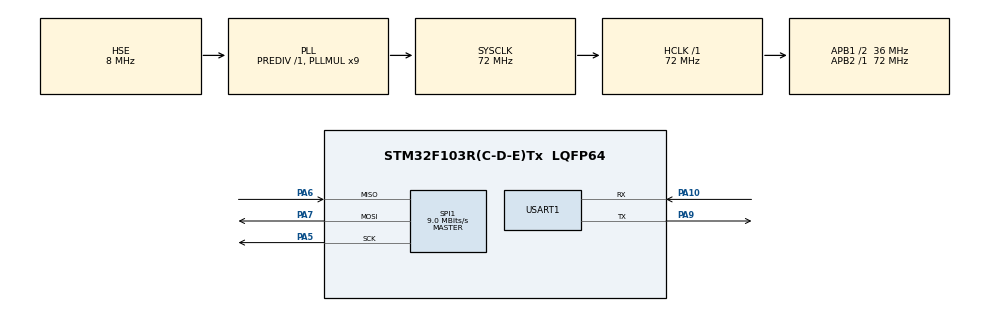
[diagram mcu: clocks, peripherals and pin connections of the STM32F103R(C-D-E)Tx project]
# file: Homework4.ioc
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Mcu.Family=STM32F1
Mcu.Name=STM32F103R(C-D-E)Tx
Mcu.Package=LQFP64
NVIC.PriorityGroup=NVIC_PRIORITYGROUP_4
NVIC.RTC_IRQn=true\:0\:0\:false\:false\:true\:true\:true\:true
NVIC.TIM3_IRQn=true\:1\:0\:true\:false\:true\:true\:true\:true
NVIC.USART1_IRQn=true\:1\:0\:true\:false\:true\:true\:true\:true
PA10.Mode=Asynchronous
PA10.Signal=USART1_RX
PA13.Mode=Serial_Wire
PA13.Signal=SYS_JTMS-SWDIO
PA14.Mode=Serial_Wire
PA14.Signal=SYS_JTCK-SWCLK
PA5.Mode=Full_Duplex_Master
PA5.Signal=SPI1_SCK
PA6.Mode=Full_Duplex_Master
PA6.Signal=SPI1_MISO
PA7.Mode=Full_Duplex_Master
PA7.Signal=SPI1_MOSI
PA9.Mode=Asynchronous
PA9.Signal=USART1_TX
PC14-OSC32_IN.Mode=LSE-External-Oscillator
PC14-OSC32_IN.Signal=RCC_OSC32_IN
PC15-OSC32_OUT.Mode=LSE-External-Oscillator
PC15-OSC32_OUT.Signal=RCC_OSC32_OUT
PD0-OSC_IN.Mode=HSE-External-Oscillator
PD0-OSC_IN.Signal=RCC_OSC_IN
PD1-OSC_OUT.Mode=HSE-External-Oscillator
PD1-OSC_OUT.Signal=RCC_OSC_OUT
ProjectManager.HeapSize=0x200
ProjectManager.StackSize=0x400
ProjectManager.TargetToolchain=STM32CubeIDE
RCC.AHBFreq_Value=72000000
RCC.APB1CLKDivider=RCC_HCLK_DIV2
RCC.APB1Freq_Value=36000000
RCC.APB1TimFreq_Value=72000000
RCC.APB2Freq_Value=72000000
RCC.APB2TimFreq_Value=72000000
RCC.HCLKFreq_Value=72000000
RCC.PLLMUL=RCC_PLL_MUL9
RCC.PLLSourceVirtual=RCC_PLLSOURCE_HSE
RCC.RTCClockSelection=RCC_RTCCLKSOURCE_LSE
RCC.SYSCLKFreq_VALUE=72000000
RCC.SYSCLKSource=RCC_SYSCLKSOURCE_PLLCLK
RCC.USBFreq_Value=72000000
RTC.Date=26
RTC.Minutes=37
RTC.Month=RTC_MONTH_DECEMBER
RTC.Seconds=30
RTC.WeekDay=RTC_WEEKDAY_TUESDAY
RTC.Year=23
SPI1.BaudRatePrescaler=SPI_BAUDRATEPRESCALER_8
SPI1.CalculateBaudRate=9.0 MBits/s
SPI1.Direction=SPI_DIRECTION_2LINES
SPI1.Mode=SPI_MODE_MASTER
SPI1.VirtualType=VM_MASTER
TIM3.Period=9999
TIM3.Prescaler=7199
USART1.VirtualMode=VM_ASYNC
VP_RTC_No_RTC_Output.Mode=RTC_OUT_NO
VP_RTC_VS_RTC_Activate.Mode=RTC_Enabled
VP_RTC_VS_RTC_Calendar.Mode=RTC_Calendar
VP_TIM3_VS_ClockSourceINT.Mode=Internal
board=custom

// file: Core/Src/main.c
/* USER CODE BEGIN Header */
/**
  ******************************************************************************
  * @file           : main.c
  * @brief          : Main program body
  ******************************************************************************
  * @attention
  *
  * Copyright (c) 2022 STMicroelectronics.
  * All rights reserved.
  *
  * This software is licensed under terms that can be found in the LICENSE file
  * in the root directory of this software component.
  * If no LICENSE file comes with this software, it is provided AS-IS.
  *
  ******************************************************************************
  */
/* USER CODE END Header */
#include "main.h"

/* USER CODE BEGIN Includes */

/* Private includes ----------------------------------------------------------*/
/* USER CODE BEGIN Includes */
#include "sys.h"
#include "delay.h"
//#include "usart.h"
#include "led.h"
#include "key.h"
#include "lcd.h"
//#include "usmart.h"
#include "touch.h"
#include "24cxx.h"
#include "24l01.h" //通信驱动 基于spi进行通信
//#include "remote.h" 红外遥控驱动
/* USER CODE END Includes */

/* USER CODE BEGIN PTD */

#include <stdio.h>
#include <stdlib.h>
#include <time.h>
#include <string.h>
#include <math.h>

//const unsigned char gImage_loag[115208]

int N = 0;
int S = 0;
int count = 0;
int count1 = 0;
int count2 = 0;
char msg[100];
char msg2[100];

RTC_DateTypeDef GetData;  //获取日期结构�?

RTC_TimeTypeDef GetTime;   //获取时间结构�?

extern UART_HandleTypeDef huart1;
extern uint8_t rxBuffer[20];

#define NUM_OF_CHARS 5 // 生成的字符数�?????
#define NUM_TO_PICK 3 // 选取的字符数�?????

/* USER CODE END PTD */

/* USER CODE BEGIN PD */
unsigned char DATA_TO_SEND[800];
int state_num = 0;
u8 STATE[30];

extern TIM_HandleTypeDef htim3;
RTC_HandleTypeDef hrtc;

typedef struct {
    int x;
    int y;
} Point;

Point points[6];
// 初始化数�?????
int numbers[] = {1, 2, 3, 4, 5, 6};
int Numbers[] = {0, 1, 2, 3, 4, 5};

//设定时间
void Time1(){

	            HAL_RTC_GetTime(&hrtc, &GetTime, RTC_FORMAT_BIN);
		        /* Get the RTC current Date */
		        HAL_RTC_GetDate(&hrtc, &GetData, RTC_FORMAT_BIN);

		        /* Display date Format : yy/mm/dd */
		        sprintf(msg2,"%02d/%02d/%02d\r\n",2000 + GetData.Year, GetData.Month, GetData.Date);
		        LCD_ShowString(70,110,200,16,16,msg2);

		        /* Display time Format : hh:mm:ss */
		  		/* Display date Format : weekday */
		  		if(GetData.WeekDay==1){
	//	  			printf("星期�??\r\n");
		  			LCD_ShowString(80,150,200,16,16,"Monday");
		  		}else if(GetData.WeekDay==2){
		  			LCD_ShowString(80,150,200,16,16,"Tuesday");
		  		}else if(GetData.WeekDay==3){
		  			LCD_ShowString(80,150,200,16,16,"Wednesday");
		  		}else if(GetData.WeekDay==4){
		  			LCD_ShowString(80,150,200,16,16,"Thursday");
		  		}else if(GetData.WeekDay==5){
		  			LCD_ShowString(80,150,200,16,16,"Friday");
		  		}else if(GetData.WeekDay==6){
		  			LCD_ShowString(80,150,200,16,16,"Saturday");
		  		}else if(GetData.WeekDay==7){
		  			LCD_ShowString(80,150,200,16,16,"Sunday");
		  		}

		       // printf("%02d:%02d:%02d\r\n",GetTime.Hours, GetTime.Minutes, GetTime.Seconds);
		  		 sprintf(msg,"%02d:%02d:%02d\r\n",GetTime.Hours, GetTime.Minutes, GetTime.Seconds);
		  		//HAL_UART_Transmit(&huart1, (uint8_t*)msg, strlen(msg), HAL_MAX_DELAY);
		  		LCD_ShowString(80,130,200,16,16,msg);

}

//初始化
void initialization(){
	LCD_ShowString(70,90,200,16,16,"Welcome, sir.");
	LCD_Fill(100,50,130,80,RED);
	LCD_Fill(100,190,130,220,BLUE);
	LCD_Fill(30,120,60,150,GREEN);
	LCD_ShowString(105,55,200,16,16,"chat");
	LCD_ShowString(100,195,200,16,16,"calculator");
	LCD_ShowString(20,125,200,16,16,"album");

	Time1();

	//LCD_Fill(30,50,250,60,RED);

}

void Load_Drow_Dialog(void)
{
	LCD_Clear(WHITE);//清屏
 	POINT_COLOR=BLUE;//设置字体为蓝�???????
	LCD_ShowString(lcddev.width-24,0,200,16,16,"RST");//显示清屏区域
  	POINT_COLOR=RED;//设置画笔蓝色
}
UART_HandleTypeDef huart1;
/* USER CODE END PD */

/* USER CODE BEGIN PM */
//清空屏幕并在右上角显�???????"RST"
////////////////////////////////////////////////////////////////////////////////
//电容触摸屏专有部�???????
//画水平线
//x0,y0:坐标
//len:线长�???????
//color:颜色
void gui_draw_hline(u16 x0,u16 y0,u16 len,u16 color)
{
	if(len==0)return;
	LCD_Fill(x0,y0,x0+len-1,y0,color);
}
//画实心圆
//x0,y0:坐标
//r:半径
//color:颜色
void gui_fill_circle(u16 x0,u16 y0,u16 r,u16 color)
{
	u32 i;
	u32 imax = ((u32)r*707)/1000+1;
	u32 sqmax = (u32)r*(u32)r+(u32)r/2;
	u32 x=r;
	gui_draw_hline(x0-r,y0,2*r,color);
	for (i=1;i<=imax;i++)
	{
		if ((i*i+x*x)>sqmax)// draw lines from outside
		{
 			if (x>imax)
			{
				gui_draw_hline (x0-i+1,y0+x,2*(i-1),color);
				gui_draw_hline (x0-i+1,y0-x,2*(i-1),color);
			}
			x--;
		}
		// draw lines from inside (center)
		gui_draw_hline(x0-x,y0+i,2*x,color);
		gui_draw_hline(x0-x,y0-i,2*x,color);
	}
}
//两个数之差的绝对�???????
//x1,x2：需取差值的两个�???????
//返回值：|x1-x2|
u16 my_abs(u16 x1,u16 x2)
{
	if(x1>x2)return x1-x2;
	else return x2-x1;
}
//画一条粗�???????
//(x1,y1),(x2,y2):线条的起始坐�???????
//size：线条的粗细程度
//color：线条的颜色

void screen_print(){
	LCD_Clear(WHITE);//清屏
	POINT_COLOR=BLUE;//设置字体为蓝�??????
	LCD_ShowString(lcddev.width-24,0,200,16,16,"RST");//显示清屏区域
	LCD_ShowString(0,0,200,24,24, "SHOW PICTURE");
	LCD_ShowString(60,60,200,24,24, "SEND MESSAGE");
	LCD_ShowString(0, lcddev.height-24, 200, 16, 16, STATE);
	POINT_COLOR=RED;//设置画笔为红�??????

}

void screen_norm_print(){
//	LCD_Clear(WHITE);//清屏
	POINT_COLOR=BLUE;//设置字体为蓝�??????
	LCD_ShowString(lcddev.width-24,0,200,16,16,"RST");//显示清屏区域
	LCD_ShowString(0,0,200,24,24, "SHOW PICTURE");
	LCD_ShowString(60,60,200,24,24, "SEND MESSAGE");
	LCD_ShowString(0, lcddev.height-24, 200, 16, 16, STATE);
	POINT_COLOR=RED;//设置画笔为红�??????

}

void change_state(){
	if(state_num == 0){
		state_num = 1;
		sprintf(STATE, "STATE: ON");
	}else{
		state_num = 0;
		sprintf(STATE, "STATE: OFF");
	}
}

void lcd_draw_bline(u16 x1, u16 y1, u16 x2, u16 y2,u8 size,u16 color)
{
	u16 t;
	int xerr=0,yerr=0,delta_x,delta_y,distance;
	int incx,incy,uRow,uCol;
	if(x1<size|| x2<size||y1<size|| y2<size)return;
	delta_x=x2-x1; //计算坐标增量
	delta_y=y2-y1;
	uRow=x1;
	uCol=y1;
	if(delta_x>0)incx=1; //设置单步方向
	else if(delta_x==0)incx=0;//垂直�???????
	else {incx=-1;delta_x=-delta_x;}
	if(delta_y>0)incy=1;
	else if(delta_y==0)incy=0;//水平�???????
	else{incy=-1;delta_y=-delta_y;}
	if( delta_x>delta_y)distance=delta_x; //选取基本增量坐标�???????
	else distance=delta_y;
	for(t=0;t<=distance+1;t++ )//画线输出
	{
		//gui_fill_circle(uRow,uCol,size,color);//画点
		xerr+=delta_x ;
		yerr+=delta_y ;
		if(xerr>distance)
		{
			xerr-=distance;
			uRow+=incx;
		}
		if(yerr>distance)
		{
			yerr-=distance;
			uCol+=incy;
		}
	}
}
////////////////////////////////////////////////////////////////////////////////
//5个触控点的颜�???????(电容触摸屏用)
const u16 POINT_COLOR_TBL[5]={RED,GREEN,BLUE,BROWN,GRED};
//电阻触摸屏测试函�???????
void rtp_test(void)
{
	u8 key;
	u8 i=0;
	while(1)
	{

	 	key=KEY_Scan(0);
		tp_dev.scan(0);
		Time1();
		//screen_norm_print();

		if(tp_dev.sta&TP_PRES_DOWN)			//触摸屏被按下
		{
		 	if(tp_dev.x[0]<lcddev.width&&tp_dev.y[0]<lcddev.height)
			{
		 		TP_Draw_Big_Point(tp_dev.x[0],tp_dev.y[0],RED);
//				if(tp_dev.x[0]>(lcddev.width-24)&&tp_dev.y[0]<16){
//					screen_print();//清除
//				}
//				else if(tp_dev.x[0]<80&&tp_dev.y[0]<24){
//					//LCD_ShowPicture(0,0,240,240,(uint16_t*) gImage_loag);
//				}
//				else if(tp_dev.x[0]>60&&tp_dev.y[0]>60&&tp_dev.x[0]<180&&tp_dev.y[0]<100){
//					sprintf(DATA_TO_SEND, "SEND DATA");
//					HAL_UART_Transmit(&huart1, (uint8_t*)DATA_TO_SEND, strlen(DATA_TO_SEND), HAL_MAX_DELAY);
//				}
//				else if(tp_dev.x[0]>0&&tp_dev.y[0]>lcddev.height-24&&tp_dev.x[0]<80&&tp_dev.y[0]<lcddev.height){
//					change_state();
//				}
//				else {
					//TP_Draw_Big_Point(tp_dev.x[0],tp_dev.y[0],RED);//画红�??????

//					if(N==1&&tp_dev.x[0]>points[Numbers[0]].x&&tp_dev.x[0]<points[Numbers[0]].x+40&&tp_dev.y[0]>points[Numbers[0]].y&&tp_dev.y[0]<points[Numbers[0]].y+40){
//					   LCD_ShowPicture(points[Numbers[0]].x,points[Numbers[0]].y,40,40,(uint16_t*) gImage_right1);
//					   //TP_Draw_Big_Point(tp_dev.x[0],tp_dev.y[0],RED);
//					}else if(N==1&&((tp_dev.x[0]>points[Numbers[1]].x&&tp_dev.x[0]<points[Numbers[1]].x+40&&tp_dev.y[0]>points[Numbers[1]].y)&&tp_dev.y[0]<points[Numbers[1]].y+40||(tp_dev.x[0]>points[Numbers[2]].x&&tp_dev.x[0]<points[Numbers[2]].x+40&&tp_dev.y[0]>points[Numbers[2]].y&&tp_dev.y[0]<points[Numbers[2]].y+40)||(tp_dev.x[0]>points[Numbers[3]].x&&tp_dev.x[0]<points[Numbers[3]].x+40&&tp_dev.y[0]>points[Numbers[3]].y&&tp_dev.y[0]<points[Numbers[3]].y+40)||(tp_dev.x[0]>points[Numbers[4]].x&&tp_dev.x[0]<points[Numbers[4]].x+40&&tp_dev.y[0]>points[Numbers[4]].y&&tp_dev.y[0]<points[Numbers[4]].y+40))){
//					   LCD_ShowPicture(tp_dev.x[0]-20,tp_dev.y[0]-19,40,38,(uint16_t*) gImage_error);
//					}

			}
		}else delay_ms(10);	//没有按键按下的时�???????
		if(key==KEY0_PRES)	//KEY0按下,则执行校准程�???????
		{
//			LCD_Clear(WHITE);	//清屏
//		    TP_Adjust();  		//屏幕校准
//			TP_Save_Adjdata();
//			Load_Drow_Dialog();
			//LCD_ShowPicture(0,0,240,240,(uint16_t*) gImage_loag);

			N = 1;
			count = 0;
			count1 = 0;
			count2 = 0;
		}
//		i++;
//		if(i%20==0)LED0=!LED0;
	}
}
//电容触摸屏测试函�???????
void ctp_test(void)
{
	u8 t=0;
	u8 i=0;
 	u16 lastpos[5][2];		//�???????后一次的数据
	while(1)
	{
		tp_dev.scan(0);
		for(t=0;t<5;t++)
		{
			if((tp_dev.sta)&(1<<t))
			{
                //printf("X坐标:%d,Y坐标:%d\r\n",tp_dev.x[0],tp_dev.y[0]);
				if(tp_dev.x[t]<lcddev.width&&tp_dev.y[t]<lcddev.height)
				{
					if(lastpos[t][0]==0XFFFF)
					{
						lastpos[t][0] = tp_dev.x[t];
						lastpos[t][1] = tp_dev.y[t];
					}

					//lcd_draw_bline(lastpos[t][0],lastpos[t][1],tp_dev.x[t],tp_dev.y[t],2,POINT_COLOR_TBL[t]);//画线
					lastpos[t][0]=tp_dev.x[t];
					lastpos[t][1]=tp_dev.y[t];
					if(tp_dev.x[t]>(lcddev.width-24)&&tp_dev.y[t]<20)
					{
						Load_Drow_Dialog();//清除
					}
				}
			}else lastpos[t][0]=0XFFFF;
		}

		delay_ms(5);i++;
		//if(i%20==0)LED0=!LED0;
	}
}

/* USER CODE END PM */

RTC_HandleTypeDef hrtc;

SPI_HandleTypeDef hspi1;

TIM_HandleTypeDef htim3;

UART_HandleTypeDef huart1;

void SystemClock_Config(void);
static void MX_GPIO_Init(void);
static void MX_SPI1_Init(void);
static void MX_USART1_UART_Init(void);
static void MX_TIM3_Init(void);
static void MX_RTC_Init(void);

int main(void)
{

  /* MCU Configuration--------------------------------------------------------*/

  /* Reset of all peripherals, Initializes the Flash interface and the Systick. */
  HAL_Init();

  /* USER CODE BEGIN Init */
  Stm32_Clock_Init(RCC_PLL_MUL9);   	//设置时钟,72M
	delay_init(72);               		//初始化延时函�???????
//	uart_init(115200);					//初始化串�???????
//	usmart_dev.init(84); 		  	  	//初始化USMART
	LED_Init();							//初始化LED
	KEY_Init();							//初始化按�???????
	LCD_Init();							//初始化LCD
	tp_dev.init();				   		//触摸屏初始化
  /* USER CODE END Init */

  /* Configure the system clock */
  SystemClock_Config();

  /* Initialize all configured peripherals */
  MX_GPIO_Init();
  MX_SPI1_Init();
  MX_USART1_UART_Init();
  MX_TIM3_Init();
  MX_RTC_Init();
  /* USER CODE BEGIN 2 */

  HAL_TIM_Base_Start_IT(&htim3);
  HAL_UART_Receive_IT(&huart1,(uint8_t*)rxBuffer,1);

  initialization();

  	if(tp_dev.touchtype&0X80)ctp_test();//电容�??????
  	else rtp_test(); 					//电阻�??????

  /* USER CODE END 2 */

  /* Infinite loop */

}

void SystemClock_Config(void)
{
  RCC_OscInitTypeDef RCC_OscInitStruct = {0};
  RCC_ClkInitTypeDef RCC_ClkInitStruct = {0};
  RCC_PeriphCLKInitTypeDef PeriphClkInit = {0};

  /** Initializes the RCC Oscillators according to the specified parameters
  * in the RCC_OscInitTypeDef structure.
  */
  RCC_OscInitStruct.OscillatorType = RCC_OSCILLATORTYPE_HSE|RCC_OSCILLATORTYPE_LSE;
  RCC_OscInitStruct.HSEState = RCC_HSE_ON;
  RCC_OscInitStruct.HSEPredivValue = RCC_HSE_PREDIV_DIV1;
  RCC_OscInitStruct.LSEState = RCC_LSE_ON;
  RCC_OscInitStruct.HSIState = RCC_HSI_ON;
  RCC_OscInitStruct.PLL.PLLState = RCC_PLL_ON;
  RCC_OscInitStruct.PLL.PLLSource = RCC_PLLSOURCE_HSE;
  RCC_OscInitStruct.PLL.PLLMUL = RCC_PLL_MUL9;
  if (HAL_RCC_OscConfig(&RCC_OscInitStruct) != HAL_OK)
  {
    Error_Handler();
  }

  /** Initializes the CPU, AHB and APB buses clocks
  */
  RCC_ClkInitStruct.ClockType = RCC_CLOCKTYPE_HCLK|RCC_CLOCKTYPE_SYSCLK
                              |RCC_CLOCKTYPE_PCLK1|RCC_CLOCKTYPE_PCLK2;
  RCC_ClkInitStruct.SYSCLKSource = RCC_SYSCLKSOURCE_PLLCLK;
  RCC_ClkInitStruct.AHBCLKDivider = RCC_SYSCLK_DIV1;
  RCC_ClkInitStruct.APB1CLKDivider = RCC_HCLK_DIV2;
  RCC_ClkInitStruct.APB2CLKDivider = RCC_HCLK_DIV1;

  if (HAL_RCC_ClockConfig(&RCC_ClkInitStruct, FLASH_LATENCY_2) != HAL_OK)
  {
    Error_Handler();
  }
  PeriphClkInit.PeriphClockSelection = RCC_PERIPHCLK_RTC;
  PeriphClkInit.RTCClockSelection = RCC_RTCCLKSOURCE_LSE;
  if (HAL_RCCEx_PeriphCLKConfig(&PeriphClkInit) != HAL_OK)
  {
    Error_Handler();
  }
}

static void MX_RTC_Init(void)
{

  RTC_TimeTypeDef sTime = {0};
  RTC_DateTypeDef DateToUpdate = {0};

  /** Initialize RTC Only
  */
  hrtc.Instance = RTC;
  hrtc.Init.AsynchPrediv = RTC_AUTO_1_SECOND;
  hrtc.Init.OutPut = RTC_OUTPUTSOURCE_NONE;
  if (HAL_RTC_Init(&hrtc) != HAL_OK)
  {
    Error_Handler();
  }

  /** Initialize RTC and set the Time and Date
  */
  sTime.Hours = 0x0;
  sTime.Minutes = 0x37;
  sTime.Seconds = 0x30;

  if (HAL_RTC_SetTime(&hrtc, &sTime, RTC_FORMAT_BCD) != HAL_OK)
  {
    Error_Handler();
  }
  DateToUpdate.WeekDay = RTC_WEEKDAY_TUESDAY;
  DateToUpdate.Month = RTC_MONTH_DECEMBER;
  DateToUpdate.Date = 0x26;
  DateToUpdate.Year = 0x23;

  if (HAL_RTC_SetDate(&hrtc, &DateToUpdate, RTC_FORMAT_BCD) != HAL_OK)
  {
    Error_Handler();
  }

}

static void MX_SPI1_Init(void)
{

  /* SPI1 parameter configuration*/
  hspi1.Instance = SPI1;
  hspi1.Init.Mode = SPI_MODE_MASTER;
  hspi1.Init.Direction = SPI_DIRECTION_2LINES;
  hspi1.Init.DataSize = SPI_DATASIZE_8BIT;
  hspi1.Init.CLKPolarity = SPI_POLARITY_LOW;
  hspi1.Init.CLKPhase = SPI_PHASE_1EDGE;
  hspi1.Init.NSS = SPI_NSS_SOFT;
  hspi1.Init.BaudRatePrescaler = SPI_BAUDRATEPRESCALER_8;
  hspi1.Init.FirstBit = SPI_FIRSTBIT_MSB;
  hspi1.Init.TIMode = SPI_TIMODE_DISABLE;
  hspi1.Init.CRCCalculation = SPI_CRCCALCULATION_DISABLE;
  hspi1.Init.CRCPolynomial = 10;
  if (HAL_SPI_Init(&hspi1) != HAL_OK)
  {
    Error_Handler();
  }

}

static void MX_TIM3_Init(void)
{

  TIM_ClockConfigTypeDef sClockSourceConfig = {0};
  TIM_MasterConfigTypeDef sMasterConfig = {0};

  htim3.Instance = TIM3;
  htim3.Init.Prescaler = 7199;
  htim3.Init.CounterMode = TIM_COUNTERMODE_UP;
  htim3.Init.Period = 9999;
  htim3.Init.ClockDivision = TIM_CLOCKDIVISION_DIV1;
  htim3.Init.AutoReloadPreload = TIM_AUTORELOAD_PRELOAD_DISABLE;
  if (HAL_TIM_Base_Init(&htim3) != HAL_OK)
  {
    Error_Handler();
  }
  sClockSourceConfig.ClockSource = TIM_CLOCKSOURCE_INTERNAL;
  if (HAL_TIM_ConfigClockSource(&htim3, &sClockSourceConfig) != HAL_OK)
  {
    Error_Handler();
  }
  sMasterConfig.MasterOutputTrigger = TIM_TRGO_RESET;
  sMasterConfig.MasterSlaveMode = TIM_MASTERSLAVEMODE_DISABLE;
  if (HAL_TIMEx_MasterConfigSynchronization(&htim3, &sMasterConfig) != HAL_OK)
  {
    Error_Handler();
  }

}

static void MX_USART1_UART_Init(void)
{

  huart1.Instance = USART1;
  huart1.Init.BaudRate = 115200;
  huart1.Init.WordLength = UART_WORDLENGTH_8B;
  huart1.Init.StopBits = UART_STOPBITS_1;
  huart1.Init.Parity = UART_PARITY_NONE;
  huart1.Init.Mode = UART_MODE_TX_RX;
  huart1.Init.HwFlowCtl = UART_HWCONTROL_NONE;
  huart1.Init.OverSampling = UART_OVERSAMPLING_16;
  if (HAL_UART_Init(&huart1) != HAL_OK)
  {
    Error_Handler();
  }

}

static void MX_GPIO_Init(void)
{

  /* GPIO Ports Clock Enable */
  __HAL_RCC_GPIOC_CLK_ENABLE();
  __HAL_RCC_GPIOD_CLK_ENABLE();
  __HAL_RCC_GPIOA_CLK_ENABLE();

}

void Error_Handler(void)
{
  __disable_irq();
  while (1)
  {
  }
}
